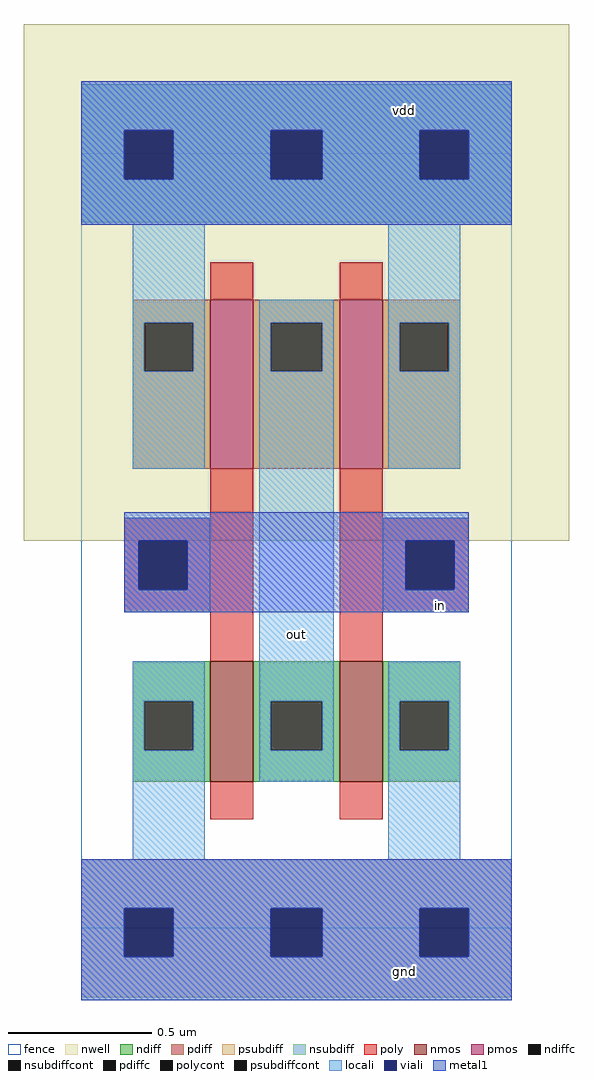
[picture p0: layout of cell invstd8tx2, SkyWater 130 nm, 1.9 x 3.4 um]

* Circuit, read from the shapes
.subckt invstd8tx2 vdd gnd in out
XM1 out in gnd gnd sky130_fd_pr__nfet_01v8 w=0.42 l=0.15 m=2
XM2 out in vdd vdd sky130_fd_pr__pfet_01v8 w=0.59 l=0.15 m=2
.ends

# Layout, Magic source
magic
tech sky130A
<< fence >>
rect 0 0 150 270
<< nwell >>
rect -20 135 170 315
<< nmos >>
rect 45 51 60 93
rect 90 51 105 93
<< pmos >>
rect 45 160 60 219
rect 90 160 105 219
<< ndiff >>
rect 18 79 45 93
rect 18 62 22 79
rect 39 62 45 79
rect 18 51 45 62
rect 60 79 90 93
rect 60 62 66 79
rect 84 62 90 79
rect 60 51 90 62
rect 105 79 132 93
rect 105 62 111 79
rect 128 62 132 79
rect 105 51 132 62
<< pdiff >>
rect 18 211 45 219
rect 18 194 22 211
rect 39 194 45 211
rect 18 160 45 194
rect 60 211 90 219
rect 60 194 66 211
rect 84 194 90 211
rect 60 160 90 194
rect 105 211 132 219
rect 105 194 111 211
rect 128 194 132 211
rect 105 160 132 194
<< ndiffc >>
rect 22 62 39 79
rect 66 62 84 79
rect 111 62 128 79
<< pdiffc >>
rect 22 194 39 211
rect 66 194 84 211
rect 111 194 128 211
<< psubdiff >>
rect 0 7 150 24
rect 0 -10 15 7
rect 32 -10 66 7
rect 84 -10 118 7
rect 135 -10 150 7
rect 0 -24 150 -10
<< nsubdiff >>
rect 0 278 150 294
rect 0 261 15 278
rect 32 261 66 278
rect 84 261 118 278
rect 135 261 150 278
rect 0 246 150 261
<< psubdiffcont >>
rect 15 -10 32 7
rect 66 -10 84 7
rect 118 -10 135 7
<< nsubdiffcont >>
rect 15 261 32 278
rect 66 261 84 278
rect 118 261 135 278
<< poly >>
rect 45 219 60 232
rect 90 219 105 232
rect 45 143 60 160
rect 15 135 60 143
rect 15 118 20 135
rect 37 118 60 135
rect 15 110 60 118
rect 45 93 60 110
rect 90 143 105 160
rect 90 135 135 143
rect 90 118 113 135
rect 130 118 135 135
rect 90 110 135 118
rect 90 93 105 110
rect 45 38 60 51
rect 90 38 105 51
<< polycont >>
rect 20 118 37 135
rect 113 118 130 135
<< locali >>
rect 0 278 150 295
rect 0 261 15 278
rect 32 261 66 278
rect 84 261 118 278
rect 135 261 150 278
rect 0 245 150 261
rect 18 211 43 245
rect 18 194 22 211
rect 39 194 43 211
rect 18 160 43 194
rect 62 211 88 219
rect 62 194 66 211
rect 84 194 88 211
rect 15 135 45 143
rect 15 118 20 135
rect 37 118 45 135
rect 15 110 45 118
rect 18 79 43 93
rect 18 62 22 79
rect 39 62 43 79
rect 18 24 43 62
rect 62 79 88 194
rect 107 211 132 245
rect 107 194 111 211
rect 128 194 132 211
rect 107 160 132 194
rect 105 135 135 143
rect 105 118 113 135
rect 130 118 135 135
rect 105 110 135 118
rect 62 62 66 79
rect 84 62 88 79
rect 62 51 88 62
rect 107 79 132 93
rect 107 62 111 79
rect 128 62 132 79
rect 107 24 132 62
rect 0 7 150 24
rect 0 -10 15 7
rect 32 -10 66 7
rect 84 -10 118 7
rect 135 -10 150 7
rect 0 -25 150 -10
<< viali >>
rect 15 261 32 278
rect 66 261 84 278
rect 118 261 135 278
rect 20 118 37 135
rect 113 118 130 135
rect 15 -10 32 7
rect 66 -10 84 7
rect 118 -10 135 7
<< metal1 >>
rect 0 278 150 295
rect 0 261 15 278
rect 32 261 66 278
rect 84 261 118 278
rect 135 261 150 278
rect 0 245 150 261
rect 15 135 135 145
rect 15 118 20 135
rect 37 118 113 135
rect 130 118 135 135
rect 15 110 135 118
rect 0 7 150 24
rect 0 -10 15 7
rect 32 -10 66 7
rect 84 -10 118 7
rect 135 -10 150 7
rect 0 -25 150 -10
<< labels >>
rlabel metal1 100 280 125 290 1 vdd
port 1 n
rlabel metal1 100 -20 125 -10 1 gnd
port 2 n
rlabel metal1 120 110 130 115 1 in
port 3 n
rlabel locali 70 100 80 105 1 out
port 4 n
<< end >>
